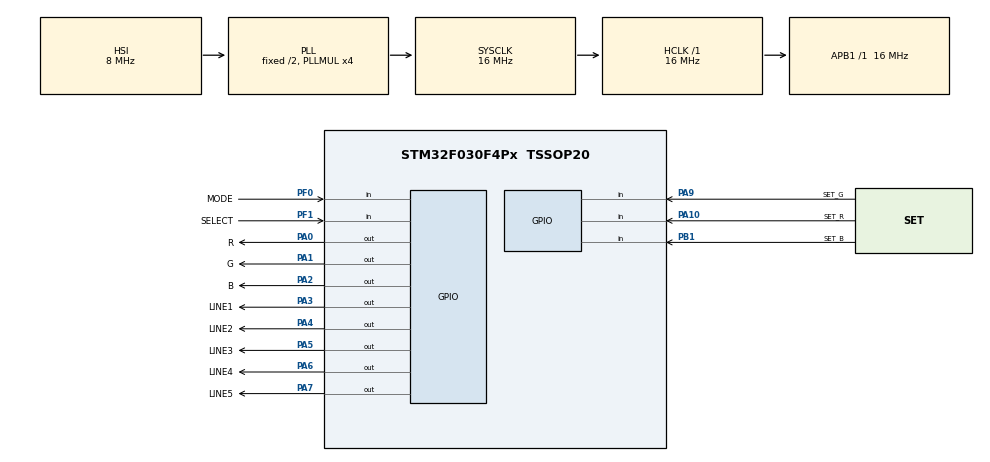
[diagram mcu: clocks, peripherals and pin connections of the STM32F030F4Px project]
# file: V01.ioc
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Mcu.Family=STM32F0
Mcu.Name=STM32F030F4Px
Mcu.Package=TSSOP20
PA0.GPIO_Label=R
PA0.GPIO_PuPd=GPIO_PULLDOWN
PA0.Signal=GPIO_Output
PA1.GPIO_Label=G
PA1.GPIO_PuPd=GPIO_PULLDOWN
PA1.Signal=GPIO_Output
PA10.GPIO_Label=SET_R
PA10.GPIO_PuPd=GPIO_PULLDOWN
PA10.Signal=GPIO_Input
PA13.Mode=Serial-WireDebug
PA13.Signal=SYS_SWDIO
PA14.Mode=Serial-WireDebug
PA14.Signal=SYS_SWCLK
PA2.GPIO_Label=B
PA2.GPIO_PuPd=GPIO_PULLDOWN
PA2.Signal=GPIO_Output
PA3.GPIO_Label=LINE1
PA3.GPIO_PuPd=GPIO_PULLUP
PA3.Signal=GPIO_Output
PA4.GPIO_Label=LINE2
PA4.GPIO_PuPd=GPIO_PULLUP
PA4.Signal=GPIO_Output
PA5.GPIO_Label=LINE3
PA5.GPIO_PuPd=GPIO_PULLUP
PA5.Signal=GPIO_Output
PA6.GPIO_Label=LINE4
PA6.GPIO_PuPd=GPIO_PULLUP
PA6.Signal=GPIO_Output
PA7.GPIO_Label=LINE5
PA7.GPIO_PuPd=GPIO_PULLUP
PA7.Signal=GPIO_Output
PA9.GPIO_Label=SET_G
PA9.GPIO_PuPd=GPIO_PULLDOWN
PA9.Signal=GPIO_Input
PB1.GPIO_Label=SET_B
PB1.GPIO_PuPd=GPIO_PULLDOWN
PB1.Signal=GPIO_Input
PF0-OSC_IN.GPIO_Label=MODE
PF0-OSC_IN.GPIO_PuPd=GPIO_PULLDOWN
PF0-OSC_IN.Signal=GPIO_Input
PF1-OSC_OUT.GPIO_Label=SELECT
PF1-OSC_OUT.GPIO_PuPd=GPIO_PULLDOWN
PF1-OSC_OUT.Signal=GPIO_Input
ProjectManager.HeapSize=0x200
ProjectManager.StackSize=0x400
ProjectManager.TargetToolchain=SW4STM32
RCC.AHBFreq_Value=16000000
RCC.APB1Freq_Value=16000000
RCC.APB1TimFreq_Value=16000000
RCC.HCLKFreq_Value=16000000
RCC.PLLMUL=RCC_PLL_MUL4
RCC.SYSCLKFreq_VALUE=16000000
RCC.SYSCLKSource=RCC_SYSCLKSOURCE_PLLCLK
board=V01

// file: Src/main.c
/**
  ******************************************************************************
  * File Name          : main.c
  * Description        : Main program body
  ******************************************************************************
  *
  * COPYRIGHT(c) 2016 STMicroelectronics
  *
  * Redistribution and use in source and binary forms, with or without modification,
  * are permitted provided that the following conditions are met:
  *   1. Redistributions of source code must retain the above copyright notice,
  *      this list of conditions and the following disclaimer.
  *   2. Redistributions in binary form must reproduce the above copyright notice,
  *      this list of conditions and the following disclaimer in the documentation
  *      and/or other materials provided with the distribution.
  *   3. Neither the name of STMicroelectronics nor the names of its contributors
  *      may be used to endorse or promote products derived from this software
  *      without specific prior written permission.
  *
  * THIS SOFTWARE IS PROVIDED BY THE COPYRIGHT HOLDERS AND CONTRIBUTORS "AS IS"
  * AND ANY EXPRESS OR IMPLIED WARRANTIES, INCLUDING, BUT NOT LIMITED TO, THE
  * IMPLIED WARRANTIES OF MERCHANTABILITY AND FITNESS FOR A PARTICULAR PURPOSE ARE
  * DISCLAIMED. IN NO EVENT SHALL THE COPYRIGHT HOLDER OR CONTRIBUTORS BE LIABLE
  * FOR ANY DIRECT, INDIRECT, INCIDENTAL, SPECIAL, EXEMPLARY, OR CONSEQUENTIAL
  * DAMAGES (INCLUDING, BUT NOT LIMITED TO, PROCUREMENT OF SUBSTITUTE GOODS OR
  * SERVICES; LOSS OF USE, DATA, OR PROFITS; OR BUSINESS INTERRUPTION) HOWEVER
  * CAUSED AND ON ANY THEORY OF LIABILITY, WHETHER IN CONTRACT, STRICT LIABILITY,
  * OR TORT (INCLUDING NEGLIGENCE OR OTHERWISE) ARISING IN ANY WAY OUT OF THE USE
  * OF THIS SOFTWARE, EVEN IF ADVISED OF THE POSSIBILITY OF SUCH DAMAGE.
  *
  ******************************************************************************
  */
#include "stm32f0xx_hal.h"

/* USER CODE BEGIN PV */
/* Private variables ---------------------------------------------------------*/

//values

uint16_t count=0, count_max=100, mode=0, line_sel=1,bank_sel=0,relax=30;
uint8_t
RED_V[10][6]= 		{{0, 9, 9, 9, 9, 9},
			{0, 9, 9, 9, 9, 9},
			{0, 0, 0, 0, 0, 0},
			{0, 0, 0, 0, 0, 0},
			{0, 9, 9, 9, 9, 9},
			{0, 9, 9, 9, 9, 9},
			{0, 9, 7, 5, 3, 1},
			{0, 5, 6, 7, 8, 9},
			{0, 6, 7, 8, 9, 9},
			{0, 9, 7, 5, 3, 1}},

GREEN_V[10][6]=		{{0, 9, 9, 9, 9, 9},
			{0, 0, 0, 0, 0, 0},
			{0, 9, 9, 9, 9, 9},
			{0, 0, 0, 0, 0, 0},
			{0, 9, 7, 5, 3, 0},
			{0, 9, 7, 5, 3, 1},
			{0, 9, 8, 7, 6, 5},
			{0, 5, 6, 7, 8, 9},
			{0, 1, 3, 5, 7, 9},
			{0, 9, 8, 8, 7, 7}},

BLUE_V[10][6]= 		{{0, 9, 9, 9, 9, 9},
			{0, 0, 0, 0, 0, 0},
			{0, 0, 0, 0, 0, 0},
			{0, 9, 9, 9, 9, 9},
			{0, 9, 7, 5, 3, 0},
			{0, 9, 9, 9, 9, 9},
			{0, 9, 7, 5, 3, 1},
			{0, 0, 3, 5, 7, 9},
			{0, 6, 7, 8, 9, 9},
			{0, 9, 8, 7, 6, 5}},

LIGHT_LEVELS[10]=	{0,	2,	4,	8,	16,	32,	48,	64,	72,	100};
void
reset_light(void),
run_line_1(void),
run_line_2(void),
run_line_3(void),
run_line_4(void),
run_line_5(void);

/* USER CODE END PV */

void SystemClock_Config(void);
static void MX_GPIO_Init(void);

/* USER CODE BEGIN PFP */
/* Private function prototypes -----------------------------------------------*/

/* USER CODE END PFP */

int main(void)
{

  /* MCU Configuration----------------------------------------------------------*/

  /* Reset of all peripherals, Initializes the Flash interface and the Systick. */
  HAL_Init();

  /* Configure the system clock */
  SystemClock_Config();

  /* Initialize all configured peripherals */
  MX_GPIO_Init();

  /* Infinite loop */
  /* USER CODE BEGIN WHILE */
  while (1)
  {

run_line_1();
reset_light();

run_line_2();
reset_light();

run_line_3();
reset_light();

run_line_4();
reset_light();

run_line_5();
reset_light();

reset_light();
    for (count=0; count<relax; count++);

    if (HAL_GPIO_ReadPin(GPIOF, GPIO_PIN_0) == 1){
    while (HAL_GPIO_ReadPin(GPIOF, GPIO_PIN_0) == 1);
	reset_light();
	mode = 1;
    }

    if (HAL_GPIO_ReadPin(GPIOF, GPIO_PIN_1) == 1){
    while (HAL_GPIO_ReadPin(GPIOF, GPIO_PIN_1) == 1);
    bank_sel++ ;
    if (bank_sel > 9){bank_sel = 0;};
    }

    while (mode == 1){
    if (HAL_GPIO_ReadPin(GPIOF, GPIO_PIN_0) == 1){
    while (HAL_GPIO_ReadPin(GPIOF, GPIO_PIN_0) == 1);
	mode = 0;
    }

    if (line_sel == 1){
	run_line_1();
	reset_light();
    }

    if (line_sel == 2){
	run_line_2();
	reset_light();
    }

    if (line_sel == 3){
	run_line_3();
	reset_light();
    }

    if (line_sel == 4){
	run_line_4();
	reset_light();
    }

    if (line_sel == 5){
	run_line_5();
	reset_light();
    }
	for (count = 0; count < count_max*20; count++);

    if (HAL_GPIO_ReadPin(GPIOF, GPIO_PIN_1) == 1){
    while (HAL_GPIO_ReadPin(GPIOF, GPIO_PIN_1) == 1);
    line_sel++ ;
    if (line_sel == 6){line_sel = 1;};
    }

//red
    if (HAL_GPIO_ReadPin(GPIOA, GPIO_PIN_9) == 1){
    while (HAL_GPIO_ReadPin(GPIOA, GPIO_PIN_9) == 1);
    RED_V[bank_sel][line_sel]++;
    if (RED_V[bank_sel][line_sel] > 9){RED_V[bank_sel][line_sel] = 0;};
    }

//green
    if (HAL_GPIO_ReadPin(GPIOA, GPIO_PIN_10) == 1){
    while (HAL_GPIO_ReadPin(GPIOA, GPIO_PIN_10) == 1);
    GREEN_V[bank_sel][line_sel]++;
    if (GREEN_V[bank_sel][line_sel] > 9){GREEN_V[bank_sel][line_sel] = 0;};
    }

//blue
    if (HAL_GPIO_ReadPin(GPIOB, GPIO_PIN_1) == 1){
    while (HAL_GPIO_ReadPin(GPIOB, GPIO_PIN_1) == 1);
    BLUE_V[bank_sel][line_sel]++;
    if (BLUE_V[bank_sel][line_sel] > 9){BLUE_V[bank_sel][line_sel] = 0;};
    }
}
  /* USER CODE END WHILE */

}

}

/** System Clock Configuration
*/
void SystemClock_Config(void)
{

  RCC_OscInitTypeDef RCC_OscInitStruct;
  RCC_ClkInitTypeDef RCC_ClkInitStruct;

  RCC_OscInitStruct.OscillatorType = RCC_OSCILLATORTYPE_HSI;
  RCC_OscInitStruct.HSIState = RCC_HSI_ON;
  RCC_OscInitStruct.HSICalibrationValue = 16;
  RCC_OscInitStruct.PLL.PLLState = RCC_PLL_ON;
  RCC_OscInitStruct.PLL.PLLSource = RCC_PLLSOURCE_HSI;
  RCC_OscInitStruct.PLL.PLLMUL = RCC_PLL_MUL4;
  RCC_OscInitStruct.PLL.PREDIV = RCC_PREDIV_DIV1;
  HAL_RCC_OscConfig(&RCC_OscInitStruct);

  RCC_ClkInitStruct.ClockType = RCC_CLOCKTYPE_HCLK|RCC_CLOCKTYPE_SYSCLK
                              |RCC_CLOCKTYPE_PCLK1;
  RCC_ClkInitStruct.SYSCLKSource = RCC_SYSCLKSOURCE_PLLCLK;
  RCC_ClkInitStruct.AHBCLKDivider = RCC_SYSCLK_DIV1;
  RCC_ClkInitStruct.APB1CLKDivider = RCC_HCLK_DIV1;
  HAL_RCC_ClockConfig(&RCC_ClkInitStruct, FLASH_LATENCY_0);

  HAL_SYSTICK_Config(HAL_RCC_GetHCLKFreq()/1000);

  HAL_SYSTICK_CLKSourceConfig(SYSTICK_CLKSOURCE_HCLK);

  /* SysTick_IRQn interrupt configuration */
  HAL_NVIC_SetPriority(SysTick_IRQn, 0, 0);
}

/** Configure pins as
        * Analog
        * Input
        * Output
        * EVENT_OUT
        * EXTI
*/
void MX_GPIO_Init(void)
{

  GPIO_InitTypeDef GPIO_InitStruct;

  /* GPIO Ports Clock Enable */
  __HAL_RCC_GPIOF_CLK_ENABLE();
  __HAL_RCC_GPIOA_CLK_ENABLE();
  __HAL_RCC_GPIOB_CLK_ENABLE();

  /*Configure GPIO pins : MODE_Pin SELECT_Pin */
  GPIO_InitStruct.Pin = MODE_Pin|SELECT_Pin;
  GPIO_InitStruct.Mode = GPIO_MODE_INPUT;
  GPIO_InitStruct.Pull = GPIO_PULLDOWN;
  HAL_GPIO_Init(GPIOF, &GPIO_InitStruct);

  /*Configure GPIO pins : R_Pin G_Pin B_Pin */
  GPIO_InitStruct.Pin = R_Pin|G_Pin|B_Pin;
  GPIO_InitStruct.Mode = GPIO_MODE_OUTPUT_PP;
  GPIO_InitStruct.Pull = GPIO_NOPULL;
  GPIO_InitStruct.Speed = GPIO_SPEED_FREQ_LOW;
  HAL_GPIO_Init(GPIOA, &GPIO_InitStruct);

  /*Configure GPIO pins : LINE1_Pin LINE2_Pin LINE3_Pin LINE4_Pin
                           LINE5_Pin */
  GPIO_InitStruct.Pin = LINE1_Pin|LINE2_Pin|LINE3_Pin|LINE4_Pin
                          |LINE5_Pin;
  GPIO_InitStruct.Mode = GPIO_MODE_OUTPUT_PP;
  GPIO_InitStruct.Pull = GPIO_PULLUP;
  GPIO_InitStruct.Speed = GPIO_SPEED_FREQ_LOW;
  HAL_GPIO_Init(GPIOA, &GPIO_InitStruct);

  /*Configure GPIO pin : SET_B_Pin */
  GPIO_InitStruct.Pin = SET_B_Pin;
  GPIO_InitStruct.Mode = GPIO_MODE_INPUT;
  GPIO_InitStruct.Pull = GPIO_PULLDOWN;
  HAL_GPIO_Init(SET_B_GPIO_Port, &GPIO_InitStruct);

  /*Configure GPIO pins : SET_G_Pin SET_R_Pin */
  GPIO_InitStruct.Pin = SET_G_Pin|SET_R_Pin;
  GPIO_InitStruct.Mode = GPIO_MODE_INPUT;
  GPIO_InitStruct.Pull = GPIO_PULLDOWN;
  HAL_GPIO_Init(GPIOA, &GPIO_InitStruct);

  /*Configure GPIO pin Output Level */
  HAL_GPIO_WritePin(GPIOA, R_Pin|G_Pin|B_Pin|LINE1_Pin
                          |LINE2_Pin|LINE3_Pin|LINE4_Pin|LINE5_Pin, GPIO_PIN_RESET);

}

/* USER CODE BEGIN 4 */
void reset_light(void){

HAL_GPIO_WritePin(GPIOA, RED, 0);
HAL_GPIO_WritePin(GPIOA, GREEN, 0);
HAL_GPIO_WritePin(GPIOA, BLUE, 0);
HAL_GPIO_WritePin(GPIOA, LINE1, 0);
HAL_GPIO_WritePin(GPIOA, LINE2, 0);
HAL_GPIO_WritePin(GPIOA, LINE3, 0);
HAL_GPIO_WritePin(GPIOA, LINE4, 0);
HAL_GPIO_WritePin(GPIOA, LINE5, 0);

}

void run_line_1(void){
//ШИМ линии 1
HAL_GPIO_WritePin(GPIOA, LINE1, 1);
    HAL_GPIO_WritePin(GPIOA, RED, 1);
    HAL_GPIO_WritePin(GPIOA, GREEN, 1);
    HAL_GPIO_WritePin(GPIOA, BLUE, 1);

    for (count=0; count<count_max; count++){

    if (LIGHT_LEVELS[RED_V[bank_sel][1]] <= count){HAL_GPIO_WritePin(GPIOA, RED, 0);}
    if (LIGHT_LEVELS[GREEN_V[bank_sel][1]] <= count){HAL_GPIO_WritePin(GPIOA, GREEN, 0);}
    if (LIGHT_LEVELS[BLUE_V[bank_sel][1]] <= count){HAL_GPIO_WritePin(GPIOA, BLUE, 0);}

    }
    for (count=0; count<10; count++);
}

void run_line_2(void){
//ШИМ линии 2
HAL_GPIO_WritePin(GPIOA, LINE2, 1);
    HAL_GPIO_WritePin(GPIOA, RED, 1);
    HAL_GPIO_WritePin(GPIOA, GREEN, 1);
    HAL_GPIO_WritePin(GPIOA, BLUE, 1);

    for (count=0; count<count_max; count++){

    if (LIGHT_LEVELS[RED_V[bank_sel][2]] <= count){HAL_GPIO_WritePin(GPIOA, RED, 0);}
    if (LIGHT_LEVELS[GREEN_V[bank_sel][2]] <= count){HAL_GPIO_WritePin(GPIOA, GREEN, 0);}
    if (LIGHT_LEVELS[BLUE_V[bank_sel][2]] <= count){HAL_GPIO_WritePin(GPIOA, BLUE, 0);}

    }
    for (count=0; count<10; count++);
}

void run_line_3(void){
//ШИМ линии 3
HAL_GPIO_WritePin(GPIOA, LINE3, 1);
    HAL_GPIO_WritePin(GPIOA, RED, 1);
    HAL_GPIO_WritePin(GPIOA, GREEN, 1);
    HAL_GPIO_WritePin(GPIOA, BLUE, 1);

    for (count=0; count<count_max; count++){

    if (LIGHT_LEVELS[RED_V[bank_sel][3]] <= count){HAL_GPIO_WritePin(GPIOA, RED, 0);}
    if (LIGHT_LEVELS[GREEN_V[bank_sel][3]] <= count){HAL_GPIO_WritePin(GPIOA, GREEN, 0);}
    if (LIGHT_LEVELS[BLUE_V[bank_sel][3]] <= count){HAL_GPIO_WritePin(GPIOA, BLUE, 0);}

    }

    for (count=0; count<10; count++);
}

void run_line_4(void){
//ШИМ линии 4
HAL_GPIO_WritePin(GPIOA, LINE4, 1);
    HAL_GPIO_WritePin(GPIOA, RED, 1);
    HAL_GPIO_WritePin(GPIOA, GREEN, 1);
    HAL_GPIO_WritePin(GPIOA, BLUE, 1);

    for (count=0; count<count_max; count++){

    if (LIGHT_LEVELS[RED_V[bank_sel][4]] <= count){HAL_GPIO_WritePin(GPIOA, RED, 0);}
    if (LIGHT_LEVELS[GREEN_V[bank_sel][4]] <= count){HAL_GPIO_WritePin(GPIOA, GREEN, 0);}
    if (LIGHT_LEVELS[BLUE_V[bank_sel][4]] <= count){HAL_GPIO_WritePin(GPIOA, BLUE, 0);}

    }
    for (count=0; count<10; count++);
}

void run_line_5(void){
//ШИМ линии 5
HAL_GPIO_WritePin(GPIOA, LINE5, 1);
    HAL_GPIO_WritePin(GPIOA, RED, 1);
    HAL_GPIO_WritePin(GPIOA, GREEN, 1);
    HAL_GPIO_WritePin(GPIOA, BLUE, 1);

    for (count=0; count<count_max; count++){

    if (LIGHT_LEVELS[RED_V[bank_sel][5]] <= count){HAL_GPIO_WritePin(GPIOA, RED, 0);}
    if (LIGHT_LEVELS[GREEN_V[bank_sel][5]] <= count){HAL_GPIO_WritePin(GPIOA, GREEN, 0);}
    if (LIGHT_LEVELS[BLUE_V[bank_sel][5]] <= count){HAL_GPIO_WritePin(GPIOA, BLUE, 0);}

    }

    for (count=0; count<10; count++);
}

/* USER CODE END 4 */

/************************ (C) COPYRIGHT STMicroelectronics *****END OF FILE****/
